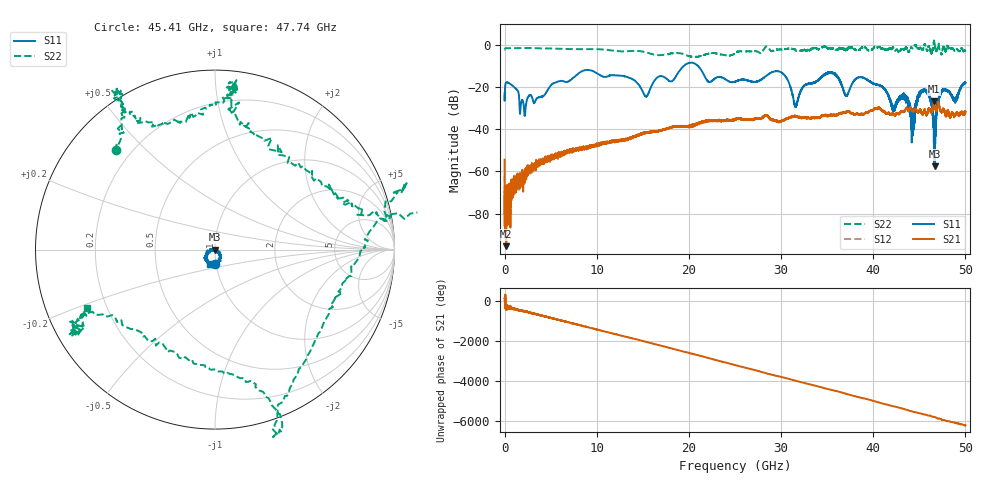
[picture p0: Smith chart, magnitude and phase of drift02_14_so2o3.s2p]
!Created with skrf (http://scikit-rf.org).
# Hz S RI R 50.0
!freq ReS11 ImS11 ReS21 ImS21 ReS12 ImS12 ReS22 ImS22
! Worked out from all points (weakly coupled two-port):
!   10001 points, 300 kHz to 50 GHz, reference 50 ohm
!   highest |S21| = -26.71 dB at 46.6 GHz (marker M1); lowest = -95.5 dB at 170.3 MHz (marker M2)
!   lowest |S11| = -57.7 dB at 46.69 GHz (marker M3), VSWR 1.00, Z = 50.1 - j0.113 ohm
!   |S11| at or under -10 dB: start of sweep to 19.41 GHz; 21.0042 GHz to 21.00671 GHz (2.512 MHz wide, 0.012 % of centre); 21.01 GHz to end of sweep
!   |S22| runs from -5.7 to 2.2 dB; largest |S21 - S12| = 0.0035
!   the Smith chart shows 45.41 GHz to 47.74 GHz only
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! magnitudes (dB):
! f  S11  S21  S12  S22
! 300 kHz  -22.9  -54.4  -61.9  -2.1
! 170.3 MHz  -17.7  -95.5  -72.0  -1.4
! 2.185 GHz  -33.7  -62.4  -61.2  -1.3
! 8.335 GHz  -12.5  -49.2  -49.3  -1.9
! 15.34 GHz  -24.5  -41.6  -41.7  -3.4
! 16.67 GHz  -15.1  -40.8  -40.7  -4.7
! 20.28 GHz  -8.4  -38.2  -38.4  -5.5
! 25 GHz  -17.3  -35.6  -35.1  -3.9
! 29.85 GHz  -12.6  -36.3  -36.5  -2.0
! 31.6 GHz  -29.3  -33.9  -34.0  -2.5
! 33.34 GHz  -18.2  -34.6  -34.5  -1.6
! 35.59 GHz  -13.3  -33.3  -33.1  -1.6
! 37.1 GHz  -24.2  -31.7  -31.6  -2.3
! 38.75 GHz  -15.3  -32.7  -32.5  -1.0
! 41.67 GHz  -24.3  -32.3  -32.1  -1.9
! 43.48 GHz  -24.0  -30.8  -30.7  -1.5
! 44.27 GHz  -35.8  -31.3  -31.2  -1.5
! 45.7 GHz  -21.7  -32.7  -32.4  -0.8
! 46.6 GHz  -41.6  -26.7  -27.2  1.7
! 46.69 GHz  -57.7  -29.4  -28.9  -0.3
! 47.47 GHz  -21.7  -31.7  -31.6  -3.4
! 50 GHz  -17.9  -32.0  -31.5  -2.6
